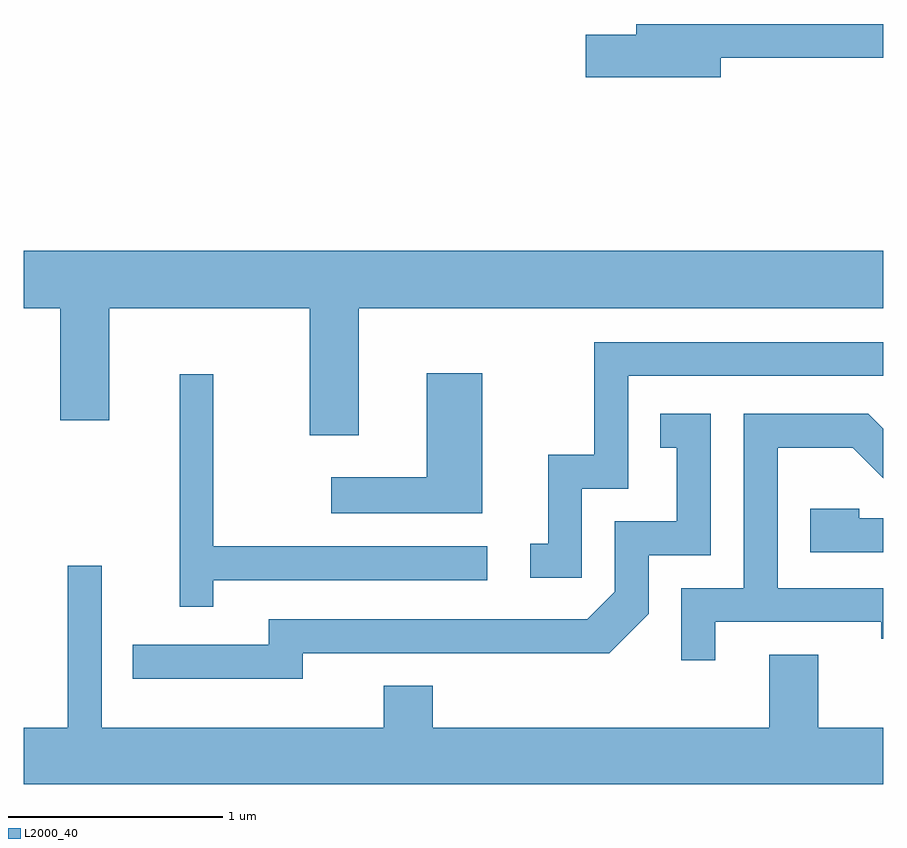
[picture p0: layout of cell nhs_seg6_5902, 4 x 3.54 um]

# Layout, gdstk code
import gdstk
lib = gdstk.Library(unit=1e-6, precision=1e-09)
def P(c, l, *ps):  # polygons
    for p in ps: c.add(gdstk.Polygon(p, *l))
L2000_40 = (2000, 40)

nhs_seg6_5902 = lib.new_cell('nhs_seg6_5902')
P(nhs_seg6_5902, L2000_40, [(366.854,1655.541),(367.611,1655.541),(367.611,1655.699),(366.461,1655.699),(366.461,1655.649),(366.226,1655.649),(366.226,1655.451),(366.854,1655.451)],
  [(365.169,1654.376),(367.611,1654.376),(367.611,1654.644),(363.611,1654.644),(363.611,1654.376),(363.781,1654.376),(363.781,1653.856),(364.009,1653.856),(364.009,1654.376),(364.941,1654.376),(364.941,1653.786),(365.169,1653.786)],
  [(366.209,1653.536),(366.424,1653.536),(366.424,1654.061),(367.611,1654.061),(367.611,1654.219),(366.266,1654.219),(366.266,1653.694),(366.051,1653.694),(366.051,1653.279),(365.968,1653.279),(365.968,1653.121),(366.209,1653.121)],
  [(365.744,1654.074),(365.486,1654.074),(365.486,1653.589),(365.043,1653.589),(365.043,1653.421),(365.744,1653.421)],
  [(364.494,1653.111),(365.768,1653.111),(365.768,1653.269),(364.494,1653.269),(364.494,1654.068),(364.336,1654.068),(364.336,1652.988),(364.494,1652.988)],
  [(364.909,1652.771),(366.337,1652.771),(366.519,1652.954),(366.519,1653.226),(366.809,1653.226),(366.809,1653.884),(366.573,1653.884),(366.573,1653.726),(366.651,1653.726),(366.651,1653.384),(366.361,1653.384),(366.361,1653.057),(366.234,1652.929),(364.751,1652.929),(364.751,1652.809),(364.118,1652.809),(364.118,1652.651),(364.909,1652.651)],
  [(366.829,1652.916),(367.601,1652.916),(367.601,1652.838),(367.611,1652.838),(367.611,1653.074),(367.119,1653.074),(367.119,1653.726),(367.469,1653.726),(367.611,1653.584),(367.611,1653.815),(367.542,1653.884),(366.961,1653.884),(366.961,1653.074),(366.671,1653.074),(366.671,1652.738),(366.829,1652.738)],
  [(367.611,1653.399),(367.499,1653.399),(367.499,1653.444),(367.271,1653.444),(367.271,1653.241),(367.611,1653.241)],
  [(367.611,1652.424),(367.309,1652.424),(367.309,1652.764),(367.081,1652.764),(367.081,1652.424),(365.514,1652.424),(365.514,1652.619),(365.286,1652.619),(365.286,1652.424),(363.974,1652.424),(363.974,1653.178),(363.816,1653.178),(363.816,1652.424),(363.611,1652.424),(363.611,1652.162),(367.611,1652.162)])

lib.write_gds('nhs_seg6_5902.gds')
